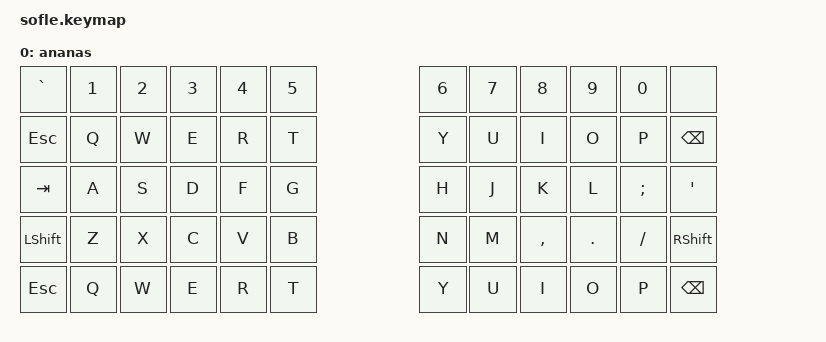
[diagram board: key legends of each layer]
/*
 * Copyright (c) 2020 The ZMK Contributors
 *
 * SPDX-License-Identifier: MIT
 */

#include <behaviors.dtsi>
#include <dt-bindings/zmk/keys.h>
#include <dt-bindings/zmk/bt.h>
#include <dt-bindings/zmk/rgb.h>
#include <dt-bindings/zmk/ext_power.h>


/ {

    keymap {
        compatible = "zmk,keymap";

        default_layer {
            display-name = "ananas";
// ------------------------------------------------------------------------------------------------------------
// |   `   |  1  |  2  |  3   |  4   |  5   |                   |  6   |  7    |  8    |  9   |   0   |       |
// |  ESC  |  Q  |  W  |  E   |  R   |  T   |                   |  Y   |  U    |  I    |  O   |   P   | BKSPC |
// |  TAB  |  A  |  S  |  D   |  F   |  G   |                   |  H   |  J    |  K    |  L   |   ;   |   '   |
// | SHIFT |  Z  |  X  |  C   |  V   |  B   |                   |  N   |  M    |  ,    |  .   |   /   | SHIFT |
// |  ESC  |  Q  |  W  |  E   |  R   |  T   |                   |  Y   |  U    |  I    |  O   |   P   | BKSPC |
            bindings = <
&kp GRAVE &kp N1 &kp N2   &kp N3   &kp N4    &kp N5                           &kp N6 &kp N7    &kp N8    &kp N9   &kp N0   &none
&kp ESC   &kp Q  &kp W    &kp E    &kp R     &kp T                            &kp Y  &kp U     &kp I     &kp O    &kp P    &kp BSPC
&kp TAB   &kp A  &kp S    &kp D    &kp F     &kp G                            &kp H  &kp J     &kp K     &kp L    &kp SEMI &kp SQT
&kp LSHFT &kp Z  &kp X    &kp C    &kp V     &kp B                            &kp N  &kp M     &kp COMMA &kp DOT  &kp FSLH &kp RSHFT
&kp ESC   &kp Q  &kp W    &kp E    &kp R     &kp T                            &kp Y  &kp U     &kp I     &kp O    &kp P    &kp BSPC
            >;
        };
    };
};
